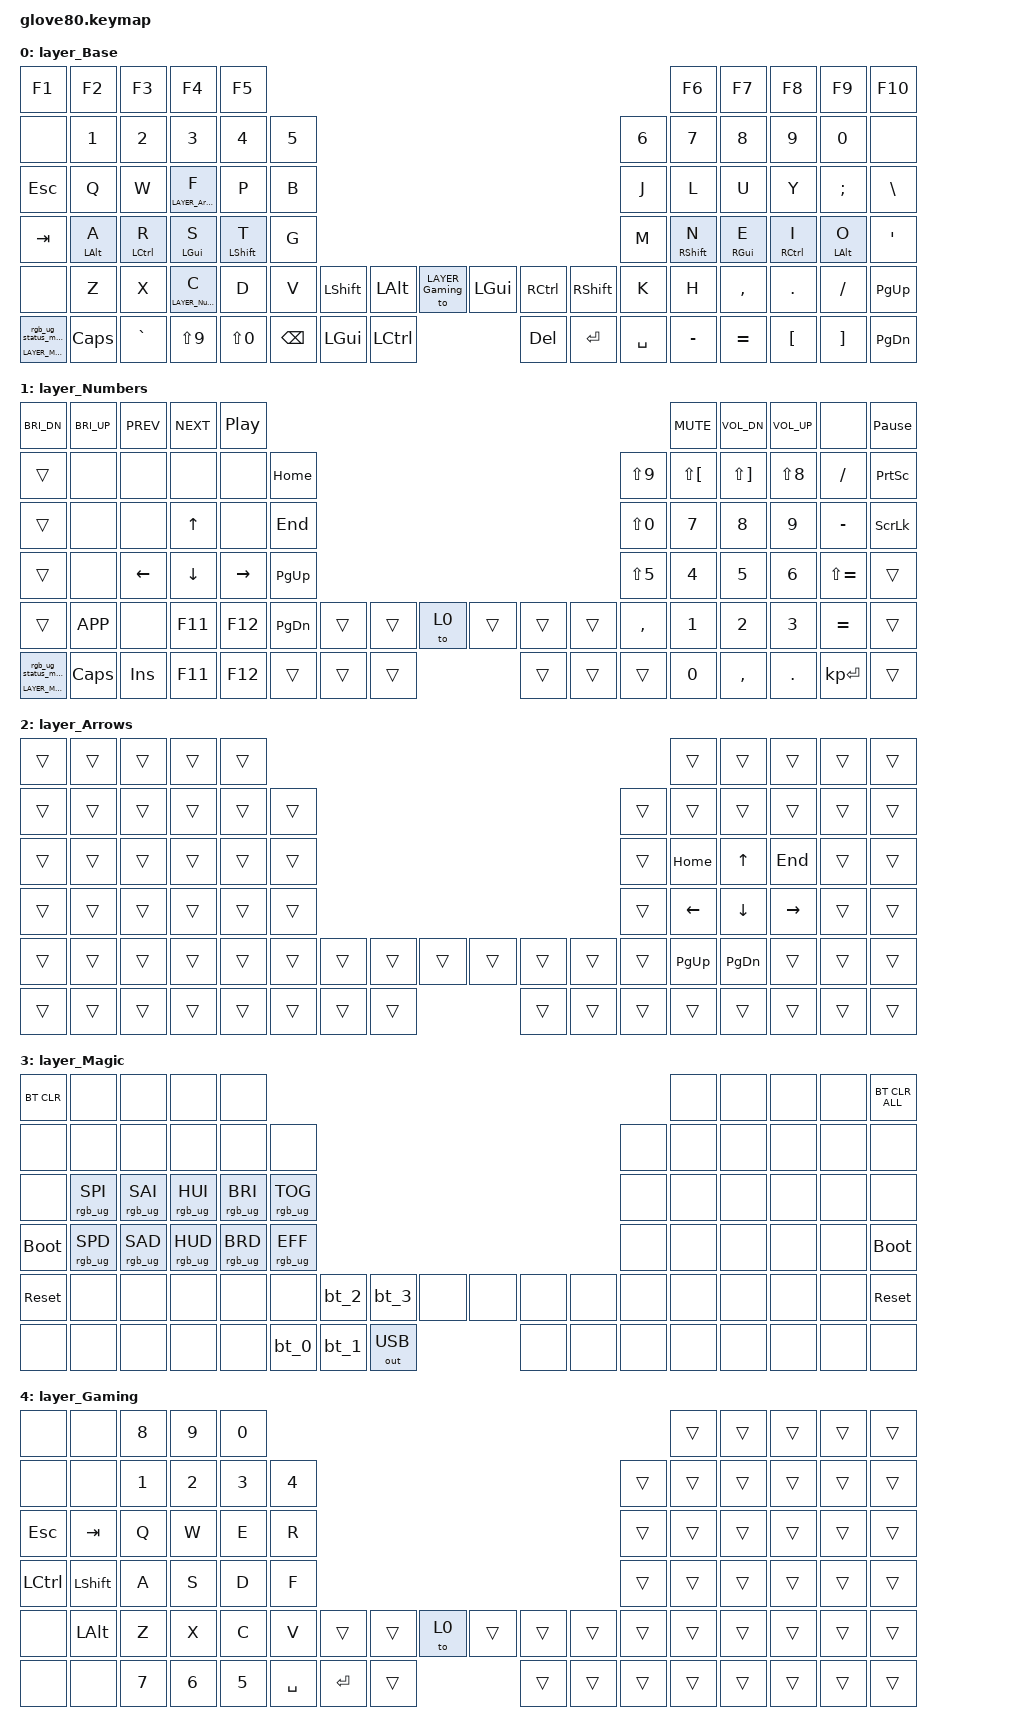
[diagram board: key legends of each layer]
/*
 * Copyright (c) 2020 The ZMK Contributors
 * Copyright (c) 2025 Innaworks Development Limited, trading as MoErgo
 *
 * SPDX-License-Identifier: MIT
 */


/* THIS FILE WAS GENERATED BY GLOVE80 LAYOUT EDITOR
 *
 * This file was generated automatically. You may or may not want to
 * edit it directly.
 */

#include <behaviors.dtsi>
/* Include all behavior includes needed */
#include <dt-bindings/zmk/outputs.h>
#include <dt-bindings/zmk/keys.h>
#include <dt-bindings/zmk/bt.h>
#include <dt-bindings/zmk/rgb.h>

/* On demand includes */


/* Helper Macros, based on https://github.com/urob/zmk-helpers/ */

#pragma once

#define ZMK_HELPER_STRINGIFY(x) #x

// Preprocessor mechanism to overload macros, cf. https://stackoverflow.com/a/27051616/6114651
#define VARGS_(_10, _9, _8, _7, _6, _5, _4, _3, _2, _1, N, ...) N
#define VARGS(...) VARGS_(__VA_ARGS__, 10, 9, 8, 7, 6, 5, 4, 3, 2, 1, 0)
#define CONCAT_(a, b) a##b
#define CONCAT(a, b) CONCAT_(a, b)

#define ZMK_BEHAVIOR_CORE_tap_dance  \
    compatible = "zmk,behavior-tap-dance"; \
    #binding-cells = <0>

#define ZMK_BEHAVIOR(name, type, ...) \
    name: name { \
        ZMK_BEHAVIOR_CORE_ ## type; \
        __VA_ARGS__ \
    };

#define ZMK_TAP_DANCE(name, ...) \
    ZMK_BEHAVIOR(name, tap_dance, __VA_ARGS__)

#define ZMK_TD_LAYER(name, layer) \
    ZMK_TAP_DANCE(name, \
        tapping-term-ms = <200>; \
        bindings = <&mo layer>, <&to layer>; \
)

/* Environment and metadata defines */
#define KB_TYPE_GLOVE_80 1
#define KB_TYPE_GO_60    2

#define KB_TYPE          KB_TYPE_GLOVE_80
#define EDITOR_HOST_OS   'L'

/* Automatically generated layer name defines */
#define LAYER_Base 0
#define LAYER_Numbers 1
#define LAYER_Arrows 2
#define LAYER_Magic 3
#define LAYER_Gaming 4

/* To deal with the situation where there is no Lower layer, to keep &lower happy */
#ifndef LAYER_Lower
#define LAYER_Lower 0
#endif

/* Custom Device-tree */


/* Input Listeners */


/* System behavior and Macros */
/ {
    behaviors {
        ZMK_TD_LAYER(lower, LAYER_Lower)
    };
};

/ {
    macros {
        rgb_ug_status_macro: rgb_ug_status_macro {
            label = "RGB_UG_STATUS";
            compatible = "zmk,behavior-macro";
            #binding-cells = <0>;
            bindings
                = <&rgb_ug RGB_STATUS>;
        };
    };
};


/ {
#ifdef BT_DISC_CMD
    behaviors {
        bt_0: bt_0 {
            compatible = "zmk,behavior-tap-dance";
            label = "BT_0";
            #binding-cells = <0>;
            tapping-term-ms = <200>;
            bindings = <&bt_select_0>, <&bt BT_DISC 0>;
        };
        bt_1: bt_1 {
            compatible = "zmk,behavior-tap-dance";
            label = "BT_1";
            #binding-cells = <0>;
            tapping-term-ms = <200>;
            bindings = <&bt_select_1>, <&bt BT_DISC 1>;
        };
        bt_2: bt_2 {
            compatible = "zmk,behavior-tap-dance";
            label = "BT_2";
            #binding-cells = <0>;
            tapping-term-ms = <200>;
            bindings = <&bt_select_2>, <&bt BT_DISC 2>;
        };
        bt_3: bt_3 {
            compatible = "zmk,behavior-tap-dance";
            label = "BT_3";
            #binding-cells = <0>;
            tapping-term-ms = <200>;
            bindings = <&bt_select_3>, <&bt BT_DISC 3>;
        };
    };
    macros {
        bt_select_0: bt_select_0 {
            label = "BT_SELECT_0";
            compatible = "zmk,behavior-macro";
            #binding-cells = <0>;
            bindings
                = <&out OUT_BLE>,
                  <&bt BT_SEL 0>;
        };
        bt_select_1: bt_select_1 {
            label = "BT_SELECT_1";
            compatible = "zmk,behavior-macro";
            #binding-cells = <0>;
            bindings
                = <&out OUT_BLE>,
                  <&bt BT_SEL 1>;
        };
        bt_select_2: bt_select_2 {
            label = "BT_SELECT_2";
            compatible = "zmk,behavior-macro";
            #binding-cells = <0>;
            bindings
                = <&out OUT_BLE>,
                  <&bt BT_SEL 2>;
        };
        bt_select_3: bt_select_3 {
            label = "BT_SELECT_3";
            compatible = "zmk,behavior-macro";
            #binding-cells = <0>;
            bindings
                = <&out OUT_BLE>,
                  <&bt BT_SEL 3>;
        };
    };
#else
    macros {
        bt_0: bt_0 {
            label = "BT_0";
            compatible = "zmk,behavior-macro";
            #binding-cells = <0>;
            bindings
                = <&out OUT_BLE>,
                  <&bt BT_SEL 0>;
        };
        bt_1: bt_1 {
            label = "BT_1";
            compatible = "zmk,behavior-macro";
            #binding-cells = <0>;
            bindings
                = <&out OUT_BLE>,
                  <&bt BT_SEL 1>;
        };
        bt_2: bt_2 {
            label = "BT_2";
            compatible = "zmk,behavior-macro";
            #binding-cells = <0>;
            bindings
                = <&out OUT_BLE>,
                  <&bt BT_SEL 2>;
        };
        bt_3: bt_3 {
            label = "BT_3";
            compatible = "zmk,behavior-macro";
            #binding-cells = <0>;
            bindings
                = <&out OUT_BLE>,
                  <&bt BT_SEL 3>;
        };
    };
#endif
};

/ {
    behaviors {
        magic: magic {
            compatible = "zmk,behavior-hold-tap";
            label = "MAGIC_HOLD_TAP";
            #binding-cells = <2>;
            flavor = "tap-preferred";
            tapping-term-ms = <200>;
            bindings = <&mo>, <&rgb_ug_status_macro>;
        };
    };
};


/* Key positions */

#define POS_LH_C6R1 0
#define POS_LH_C5R1 1
#define POS_LH_C4R1 2
#define POS_LH_C3R1 3
#define POS_LH_C2R1 4
#define POS_RH_C2R1 5
#define POS_RH_C3R1 6
#define POS_RH_C4R1 7
#define POS_RH_C5R1 8
#define POS_RH_C6R1 9
#define POS_LH_C6R2 10
#define POS_LH_C5R2 11
#define POS_LH_C4R2 12
#define POS_LH_C3R2 13
#define POS_LH_C2R2 14
#define POS_LH_C1R2 15
#define POS_RH_C1R2 16
#define POS_RH_C2R2 17
#define POS_RH_C3R2 18
#define POS_RH_C4R2 19
#define POS_RH_C5R2 20
#define POS_RH_C6R2 21
#define POS_LH_C6R3 22
#define POS_LH_C5R3 23
#define POS_LH_C4R3 24
#define POS_LH_C3R3 25
#define POS_LH_C2R3 26
#define POS_LH_C1R3 27
#define POS_RH_C1R3 28
#define POS_RH_C2R3 29
#define POS_RH_C3R3 30
#define POS_RH_C4R3 31
#define POS_RH_C5R3 32
#define POS_RH_C6R3 33
#define POS_LH_C6R4 34
#define POS_LH_C5R4 35
#define POS_LH_C4R4 36
#define POS_LH_C3R4 37
#define POS_LH_C2R4 38
#define POS_LH_C1R4 39
#define POS_RH_C1R4 40
#define POS_RH_C2R4 41
#define POS_RH_C3R4 42
#define POS_RH_C4R4 43
#define POS_RH_C5R4 44
#define POS_RH_C6R4 45
#define POS_LH_C6R5 46
#define POS_LH_C5R5 47
#define POS_LH_C4R5 48
#define POS_LH_C3R5 49
#define POS_LH_C2R5 50
#define POS_LH_C1R5 51
#define POS_LH_T1 52
#define POS_LH_T2 53
#define POS_LH_T3 54
#define POS_RH_T3 55
#define POS_RH_T2 56
#define POS_RH_T1 57
#define POS_RH_C1R5 58
#define POS_RH_C2R5 59
#define POS_RH_C3R5 60
#define POS_RH_C4R5 61
#define POS_RH_C5R5 62
#define POS_RH_C6R5 63
#define POS_LH_C6R6 64
#define POS_LH_C5R6 65
#define POS_LH_C4R6 66
#define POS_LH_C3R6 67
#define POS_LH_C2R6 68
#define POS_LH_T4 69
#define POS_LH_T5 70
#define POS_LH_T6 71
#define POS_RH_T6 72
#define POS_RH_T5 73
#define POS_RH_T4 74
#define POS_RH_C2R6 75
#define POS_RH_C3R6 76
#define POS_RH_C4R6 77
#define POS_RH_C5R6 78
#define POS_RH_C6R6 79


/* Custom Defined Behaviors */
/ {

};

/* Generated input processors */


/* Automatically generated macro definitions */
/ {
    macros {

    };
};

/* Automatically generated behavior definitions */
/ {
    behaviors {


        kp_kp_l: kp_kp_l {
            compatible = "zmk,behavior-hold-tap";
            #binding-cells = <2>;
            tapping-term-ms = <300>;
            bindings = <&kp>, <&kp>;
            flavor = "tap-preferred";
            quick-tap-ms = <300>;
            require-prior-idle-ms = <100>;
            hold-trigger-key-positions = <POS_LH_T1 POS_LH_T4 POS_LH_T5 POS_LH_T2 POS_LH_T3 POS_LH_T6 POS_RH_T3 POS_RH_T2 POS_RH_T5 POS_RH_C1R4 POS_RH_T1 POS_RH_C1R5 POS_RH_C2R5 POS_RH_T6 POS_RH_T4 POS_RH_C2R6 POS_RH_C2R1 POS_RH_C3R1 POS_RH_C4R1 POS_RH_C5R1 POS_RH_C6R1 POS_RH_C2R2 POS_RH_C3R2 POS_RH_C4R2 POS_RH_C5R2 POS_RH_C6R2 POS_RH_C3R3 POS_RH_C4R3 POS_RH_C5R3 POS_RH_C6R3 POS_RH_C2R4 POS_RH_C3R4 POS_RH_C4R4 POS_RH_C5R4 POS_RH_C6R4 POS_RH_C3R5 POS_RH_C4R5 POS_RH_C5R5 POS_RH_C6R5 POS_RH_C3R6 POS_RH_C4R6 POS_RH_C5R6 POS_RH_C6R6 POS_RH_C1R2 POS_RH_C1R3 POS_RH_C2R3>;
        };

        mo_kp_l: mo_kp_l {
            compatible = "zmk,behavior-hold-tap";
            #binding-cells = <2>;
            tapping-term-ms = <300>;
            bindings = <&mo>, <&kp>;
            flavor = "tap-preferred";
            quick-tap-ms = <300>;
            require-prior-idle-ms = <100>;
            hold-trigger-key-positions = <POS_RH_C2R1 POS_RH_C3R1 POS_RH_C4R1 POS_RH_C5R1 POS_RH_C6R1 POS_RH_C1R2 POS_RH_C2R2 POS_RH_C3R2 POS_RH_C4R2 POS_RH_C5R2 POS_RH_C6R2 POS_RH_C1R3 POS_RH_C2R3 POS_RH_C3R3 POS_RH_C4R3 POS_RH_C5R3 POS_RH_C6R3 POS_RH_C1R4 POS_RH_C2R4 POS_RH_C3R4 POS_RH_C4R4 POS_RH_C5R4 POS_RH_C6R4 POS_RH_T3 POS_RH_T2 POS_RH_T1 POS_RH_C1R5 POS_RH_C2R5 POS_RH_C3R5 POS_RH_C4R5 POS_RH_C5R5 POS_RH_C6R5 POS_RH_T6 POS_RH_T5 POS_RH_T4 POS_RH_C2R6 POS_RH_C3R6 POS_RH_C4R6 POS_RH_C5R6 POS_RH_C6R6>;
        };

        kp_kp_r: kp_kp_r {
            compatible = "zmk,behavior-hold-tap";
            #binding-cells = <2>;
            tapping-term-ms = <300>;
            bindings = <&kp>, <&kp>;
            flavor = "tap-preferred";
            quick-tap-ms = <300>;
            require-prior-idle-ms = <100>;
            hold-trigger-key-positions = <POS_LH_C6R1 POS_LH_C5R1 POS_LH_C4R1 POS_LH_C3R1 POS_LH_C2R1 POS_LH_C6R2 POS_LH_C5R2 POS_LH_C4R2 POS_LH_C3R2 POS_LH_C2R2 POS_LH_C1R2 POS_LH_C6R3 POS_LH_C5R3 POS_LH_C4R3 POS_LH_C3R3 POS_LH_C2R3 POS_LH_C1R3 POS_LH_C5R4 POS_LH_C4R4 POS_LH_C3R4 POS_LH_C2R4 POS_LH_C1R4 POS_LH_C5R5 POS_LH_C4R5 POS_LH_C3R5 POS_LH_C2R5 POS_LH_C1R5 POS_LH_T1 POS_LH_T2 POS_LH_T3 POS_LH_C4R6 POS_LH_C3R6 POS_LH_C2R6 POS_LH_T4 POS_LH_T5 POS_LH_T6 POS_LH_C6R4 POS_LH_C6R5 POS_LH_C6R6 POS_LH_C5R6>;
        };

        mo_kp_r: mo_kp_r {
            compatible = "zmk,behavior-hold-tap";
            #binding-cells = <2>;
            tapping-term-ms = <300>;
            bindings = <&mo>, <&kp>;
            flavor = "tap-preferred";
            quick-tap-ms = <300>;
            require-prior-idle-ms = <100>;
            hold-trigger-key-positions = <POS_LH_C6R2 POS_LH_C6R3 POS_LH_C6R4 POS_LH_C5R5 POS_LH_C6R1 POS_LH_C5R1 POS_LH_C4R1 POS_LH_C3R1 POS_LH_C2R1 POS_LH_C5R2 POS_LH_C4R2 POS_LH_C3R2 POS_LH_C2R2 POS_LH_C1R2 POS_LH_C5R3 POS_LH_C4R3 POS_LH_C3R3 POS_LH_C2R3 POS_LH_C1R3 POS_LH_C5R4 POS_LH_C4R4 POS_LH_C3R4 POS_LH_C2R4 POS_LH_C1R4 POS_LH_C6R5 POS_LH_C4R5 POS_LH_C3R5 POS_LH_C2R5 POS_LH_C1R5 POS_LH_T1 POS_LH_T2 POS_LH_T3 POS_LH_C6R6 POS_LH_C5R6 POS_LH_C4R6 POS_LH_C3R6 POS_LH_C2R6 POS_LH_T4 POS_LH_T5 POS_LH_T6>;
        };
    };
};

/* Automatically generated combos definitions */


/* Automatically generated keymap */
/ {
    keymap {
        compatible = "zmk,keymap";


        layer_Base {
            bindings = <
               &kp F1           &kp F2            &kp F3                    &kp F4            &kp F5                                                                                                   &kp F6           &kp F7            &kp F8           &kp F9    &kp F10
                &none           &kp N1            &kp N2                    &kp N3            &kp N4  &kp N5                                                                         &kp N6            &kp N7           &kp N8            &kp N9           &kp N0      &none
              &kp ESC            &kp Q             &kp W   &mo_kp_l LAYER_Arrows F             &kp P   &kp B                                                                          &kp J             &kp L            &kp U             &kp Y         &kp SEMI   &kp BSLH
              &kp TAB  &kp_kp_l LALT A  &kp_kp_l LCTRL R           &kp_kp_l LGUI S  &kp_kp_l LSHFT T   &kp G                                                                          &kp M  &kp_kp_r RSHFT N  &kp_kp_r RGUI E  &kp_kp_r RCTRL I  &kp_kp_r LALT O    &kp SQT
                &none            &kp Z             &kp X  &mo_kp_l LAYER_Numbers C             &kp D   &kp V  &kp LSHFT  &kp LALT  &to LAYER_Gaming  &kp LGUI  &kp RCTRL  &kp RSHFT   &kp K             &kp H        &kp COMMA           &kp DOT         &kp FSLH  &kp PG_UP
 &magic LAYER_Magic 0         &kp CAPS         &kp GRAVE                &kp LS(N9)        &kp LS(N0)           &kp BSPC  &kp LGUI         &kp LCTRL   &kp DEL    &kp RET  &kp SPACE                 &kp MINUS        &kp EQUAL          &kp LBKT         &kp RBKT  &kp PG_DN
            >;
        };

        layer_Numbers {
            bindings = <
         &kp C_BRI_DN  &kp C_BRI_UP      &kp C_PREV      &kp C_NEXT         &kp C_PP                                                                           &kp C_MUTE  &kp C_VOL_DN  &kp C_VOL_UP          &none  &kp PAUSE_BREAK
               &trans         &none           &none           &none            &none   &kp HOME                                                  &kp LS(N9)  &kp LS(LBKT)  &kp LS(RBKT)    &kp LS(N8)       &kp FSLH  &kp PRINTSCREEN
               &trans         &none           &none    &kp UP_ARROW            &none    &kp END                                                  &kp LS(N0)        &kp N7        &kp N8        &kp N9      &kp MINUS   &kp SCROLLLOCK
               &trans         &none  &kp LEFT_ARROW  &kp DOWN_ARROW  &kp RIGHT_ARROW  &kp PG_UP                                                  &kp LS(N5)        &kp N4        &kp N5        &kp N6  &kp LS(EQUAL)           &trans
               &trans     &kp K_APP           &none         &kp F11          &kp F12  &kp PG_DN  &trans  &trans   &to 0  &trans  &trans  &trans   &kp COMMA        &kp N1        &kp N2        &kp N3      &kp EQUAL           &trans
 &magic LAYER_Magic 0      &kp CAPS         &kp INS         &kp F11          &kp F12             &trans  &trans  &trans  &trans  &trans  &trans                    &kp N0     &kp COMMA       &kp DOT   &kp KP_ENTER           &trans
            >;
        };

        layer_Arrows {
            bindings = <
 &trans  &trans  &trans  &trans  &trans                                                                     &trans     &trans     &trans  &trans  &trans
 &trans  &trans  &trans  &trans  &trans  &trans                                                  &trans     &trans     &trans     &trans  &trans  &trans
 &trans  &trans  &trans  &trans  &trans  &trans                                                  &trans   &kp HOME     &kp UP    &kp END  &trans  &trans
 &trans  &trans  &trans  &trans  &trans  &trans                                                  &trans   &kp LEFT   &kp DOWN  &kp RIGHT  &trans  &trans
 &trans  &trans  &trans  &trans  &trans  &trans  &trans  &trans  &trans  &trans  &trans  &trans  &trans  &kp PG_UP  &kp PG_DN     &trans  &trans  &trans
 &trans  &trans  &trans  &trans  &trans          &trans  &trans  &trans  &trans  &trans  &trans             &trans     &trans     &trans  &trans  &trans
            >;
        };

        layer_Magic {
            bindings = <
  &bt BT_CLR            &none            &none            &none            &none                                                                                  &none   &none   &none   &none  &bt BT_CLR_ALL
       &none            &none            &none            &none            &none            &none                                                         &none   &none   &none   &none   &none           &none
       &none  &rgb_ug RGB_SPI  &rgb_ug RGB_SAI  &rgb_ug RGB_HUI  &rgb_ug RGB_BRI  &rgb_ug RGB_TOG                                                         &none   &none   &none   &none   &none           &none
 &bootloader  &rgb_ug RGB_SPD  &rgb_ug RGB_SAD  &rgb_ug RGB_HUD  &rgb_ug RGB_BRD  &rgb_ug RGB_EFF                                                         &none   &none   &none   &none   &none     &bootloader
  &sys_reset            &none            &none            &none            &none            &none   &bt_2   &bt_3         &none   &none   &none   &none   &none   &none   &none   &none   &none      &sys_reset
       &none            &none            &none            &none            &none                    &bt_0   &bt_1  &out OUT_USB   &none   &none   &none           &none   &none   &none   &none           &none
            >;
        };

        layer_Gaming {
            bindings = <
     &none      &none  &kp N8  &kp N9  &kp N0                                                                      &trans  &trans  &trans  &trans  &trans
     &none      &none  &kp N1  &kp N2  &kp N3  &kp N4                                                      &trans  &trans  &trans  &trans  &trans  &trans
   &kp ESC    &kp TAB   &kp Q   &kp W   &kp E   &kp R                                                      &trans  &trans  &trans  &trans  &trans  &trans
 &kp LCTRL  &kp LSHFT   &kp A   &kp S   &kp D   &kp F                                                      &trans  &trans  &trans  &trans  &trans  &trans
     &none   &kp LALT   &kp Z   &kp X   &kp C   &kp V     &trans   &trans   &to 0  &trans  &trans  &trans  &trans  &trans  &trans  &trans  &trans  &trans
     &none      &none  &kp N7  &kp N6  &kp N5          &kp SPACE  &kp RET  &trans  &trans  &trans  &trans          &trans  &trans  &trans  &trans  &trans
            >;
        };

    };
};
